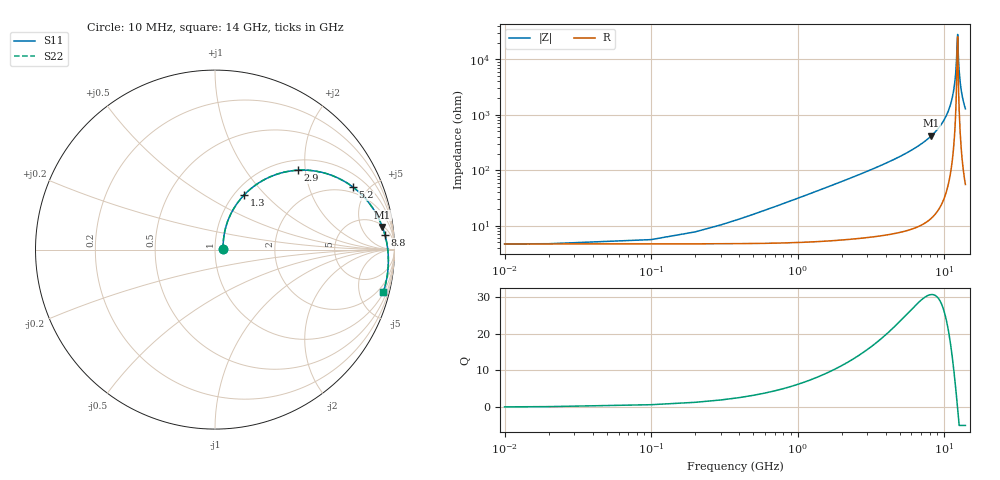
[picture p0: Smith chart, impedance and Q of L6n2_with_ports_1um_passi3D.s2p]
#  GHZ S DB R 50.0
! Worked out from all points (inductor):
!   142 points, 10 MHz to 14 GHz, reference 50 ohm
!   read as one part in series: L = 4.86 nH near 500 MHz
!   highest Q = 30.7 at 8.2 GHz (marker M1), where L = 8.1 nH
!   self-resonance near 12.3 GHz
!   S11 on the Smith chart (normalised r, x): 10 MHz: 1.09, +0.01; 1.3 GHz: 1.11, +0.77; 2.9 GHz: 1.22, +1.82; 5.2 GHz: 1.65, +3.99; 8.8 GHz: 10, +17; 14 GHz: 1.06, -7.84
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0.01  -26.97 3.3  -0.40 -0.2  -0.40 -0.2  -26.97 3.4
0.6  -15.47 65.8  -0.58 -10.6  -0.58 -10.6  -15.47 65.8
1.3  -9.25 61.9  -1.08 -21.8  -1.08 -21.8  -9.25 61.9
2.4  -4.98 49.2  -2.32 -37.1  -2.32 -37.1  -4.98 49.2
2.9  -3.89 43.8  -3.02 -43.0  -3.02 -43.0  -3.89 43.8
4.7  -1.79 27.9  -5.87 -59.9  -5.87 -59.9  -1.79 27.9
5.2  -1.47 24.3  -6.73 -63.6  -6.73 -63.6  -1.47 24.3
7.1  -0.74 13.0  -10.36 -75.2  -10.36 -75.2  -0.74 13.0
8.2  -0.53 7.7  -12.86 -80.5  -12.86 -80.5  -0.53 7.7
8.8  -0.44 5.0  -14.43 -83.2  -14.43 -83.2  -0.44 5.0
9.4  -0.38 2.5  -16.24 -85.6  -16.24 -85.6  -0.38 2.5
10.8  -0.29 -3.1  -22.19 -90.1  -22.19 -90.1  -0.29 -3.0
11.7  -0.26 -6.4  -29.79 -90.3  -29.79 -90.3  -0.27 -6.3
12.1  -0.26 -7.8  -37.57 -83.7  -37.57 -83.7  -0.26 -7.8
12.2  -0.26 -8.1  -41.25 -76.5  -41.25 -76.5  -0.26 -8.1
12.3  -0.26 -8.5  -46.82 -54.7  -46.82 -54.7  -0.26 -8.5
12.4  -0.26 -8.8  -49.27 16.0  -49.27 16.0  -0.26 -8.8
12.5  -0.26 -9.2  -43.24 54.1  -43.24 54.1  -0.26 -9.2
12.6  -0.26 -9.5  -38.96 64.7  -38.96 64.7  -0.26 -9.5
12.9  -0.26 -10.6  -32.06 72.5  -32.06 72.5  -0.26 -10.6
13.4  -0.27 -12.3  -26.44 74.2  -26.44 74.2  -0.27 -12.3
14  -0.29 -14.3  -22.57 73.5  -22.57 73.5  -0.29 -14.3
